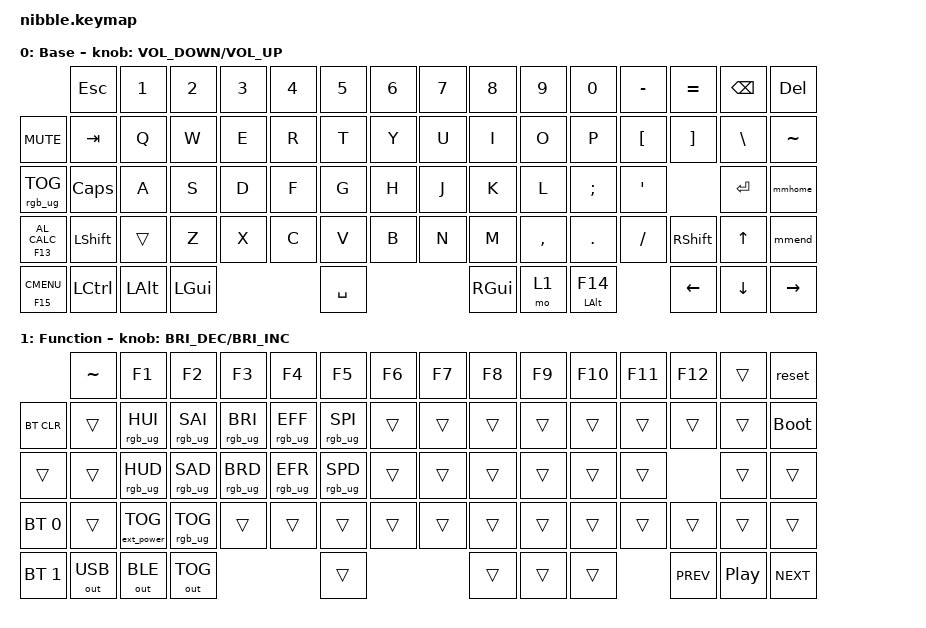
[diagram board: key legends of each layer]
/*
 * Copyright (c) 2020 The ZMK Contributors
 *
 * SPDX-License-Identifier: MIT
 */


#include <behaviors.dtsi>
#include <dt-bindings/zmk/keys.h>
#include <dt-bindings/zmk/bt.h>
#include <dt-bindings/zmk/rgb.h>
#include <dt-bindings/zmk/ext_power.h>
#include <dt-bindings/zmk/outputs.h>


&mt {
    tapping-term-ms = <400>;
};




/ {
	sensors {
		compatible = "zmk,keymap-sensors";
		sensors = <&encoder_1>;
	};

    behaviors {
    
    		//Mod Morph
    
        // Right modifiers home/pgup
        mmhome: rshift_home_to_pgup {
            compatible = "zmk,behavior-mod-morph";
            label = "RSHIFT_HOME_TO_PGUP";
            #binding-cells = <0>;
            bindings = <&kp HOME>, <&kp PG_UP>;
            mods = <(MOD_LGUI|MOD_RGUI|MOD_RSFT|MOD_RALT)>;
        };

        // Right modifiers end/pgdn
        mmend: rshift_home_to_pgdn {
            compatible = "zmk,behavior-mod-morph";
            label = "RSHIFT_HOME_TO_PGDN";
            #binding-cells = <0>;
            bindings = <&kp END>, <&kp PG_DN>;
            mods = <(MOD_LGUI|MOD_RGUI|MOD_RSFT|MOD_RALT)>;
        };
	


 
    };



	keymap {
		compatible = "zmk,keymap";

		default_layer {
			label = "Base";

			sensor-bindings = <&inc_dec_kp C_VOLUME_DOWN C_VOLUME_UP>;

			bindings = <
                            &kp ESC   &kp N1    &kp N2    &kp N3    &kp N4    &kp N5    &kp N6    &kp N7    &kp N8    &kp N9     &kp N0     &kp MINUS   &kp EQUAL   &kp BSPC   &kp DEL
&kp C_MUTE  	            &kp TAB   &kp Q     &kp W     &kp E     &kp R     &kp T     &kp Y     &kp U     &kp I     &kp O      &kp P      &kp LBKT    &kp RBKT    &kp BSLH   &kp TILDE
&rgb_ug RGB_TOG             &kp CLCK  &kp A     &kp S     &kp D     &kp F     &kp G     &kp H     &kp J     &kp K     &kp L      &kp SEMI   &kp SQT                 &kp RET    &mmhome
&mt F13 C_AL_CALC           &kp LSHFT &trans    &kp Z     &kp X     &kp C     &kp V     &kp B     &kp N     &kp M     &kp COMMA  &kp DOT    &kp FSLH    &kp RSHFT   &kp UP     &mmend 
&mt F15 K_CMENU 	            &kp LCTRL &kp LALT  &kp LGUI                      &kp SPACE             &kp RGUI  &mo 1      &mt LALT F14                 &kp LEFT    &kp DOWN   &kp RIGHT
			>;
		};
		function_layer {
			label = "Function";
			
			sensor-bindings = <&inc_dec_kp C_BRIGHTNESS_DEC C_BRIGHTNESS_INC>;

			bindings = <
                &kp TILDE  	&kp F1  	    	  &kp F2     	    &kp F3   	      &kp F4  	        &kp F5              &kp F6    &kp F7    &kp F8       &kp F9         &kp F10  	    &kp F11      &kp F12      &trans      &reset
&bt BT_CLR      &trans     	&rgb_ug RGB_HUI    &rgb_ug RGB_SAI   &rgb_ug RGB_BRI   &rgb_ug RGB_EFF   &rgb_ug RGB_SPI     &trans    &trans    &trans       &trans         &trans          &trans       &trans       &trans      &bootloader
&trans          &trans     	&rgb_ug RGB_HUD    &rgb_ug RGB_SAD   &rgb_ug RGB_BRD   &rgb_ug RGB_EFR   &rgb_ug RGB_SPD     &trans    &trans    &trans       &trans         &trans          &trans                    &trans      &trans
&bt BT_SEL 0    &trans     	&ext_power EP_TOG  &rgb_ug RGB_TOG   &trans   	      &trans        	&trans              &trans    &trans    &trans       &trans         &trans          &trans       &trans       &trans      &trans
&bt BT_SEL 1    &out OUT_USB    &out OUT_BLE       &out OUT_TOG                             &trans             			                            &trans       &trans         &trans                       &kp C_PREV   &kp C_PP    &kp C_NEXT
			>;
		};
	};
};


